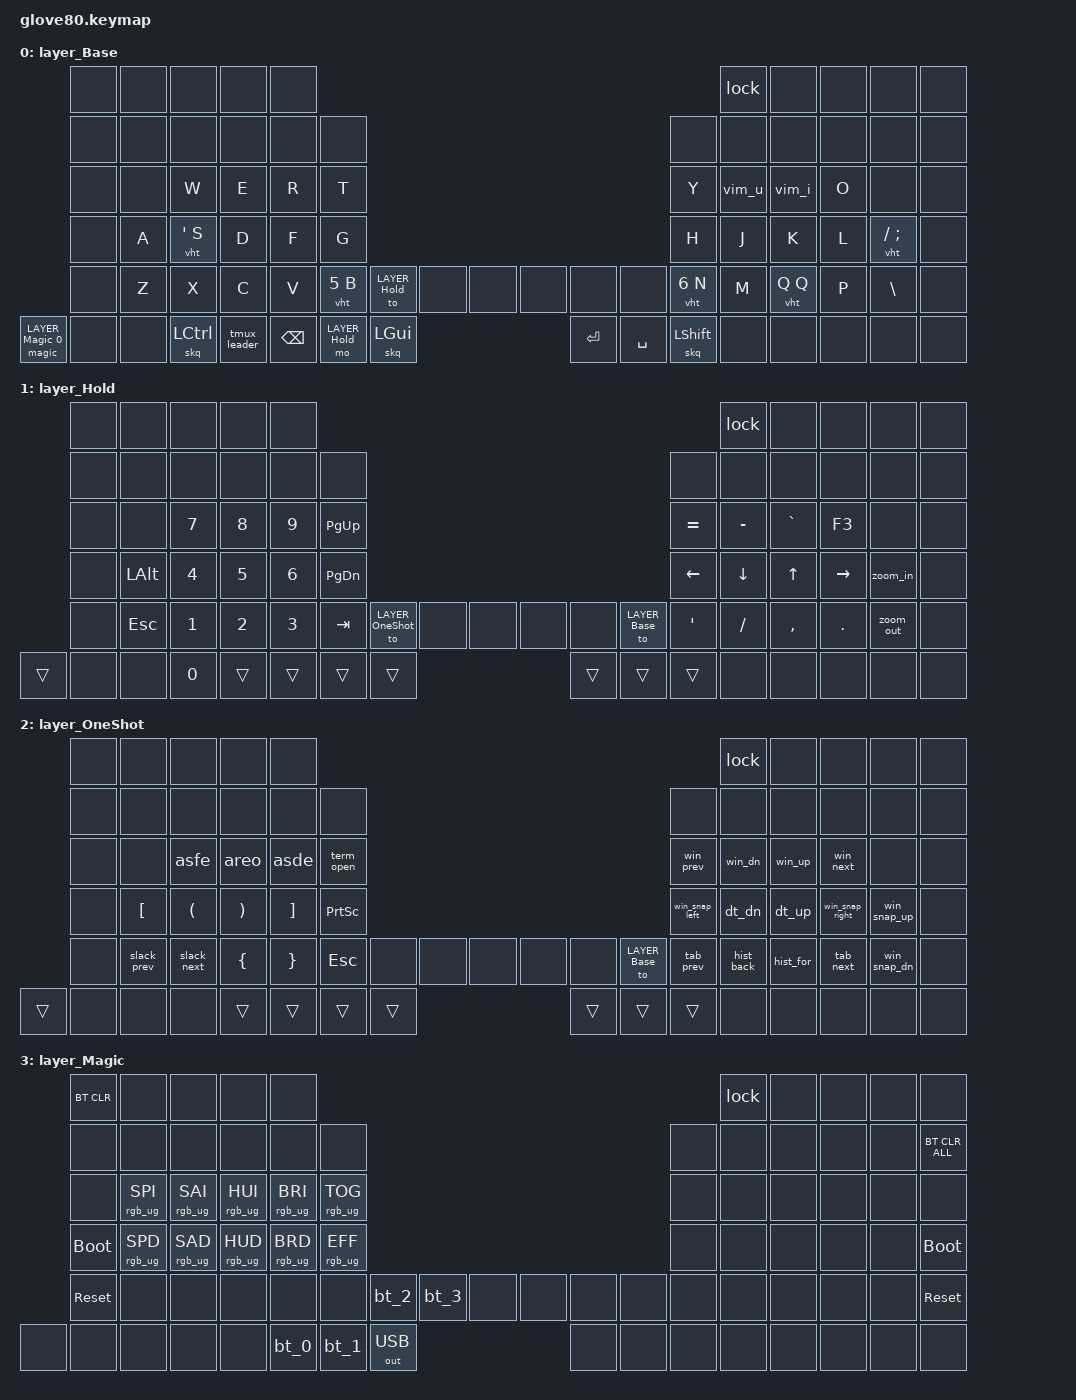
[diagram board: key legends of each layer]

/* Layer name defines. */
#define LAYER_Base 0
#define LAYER_Hold 1
#define LAYER_OneShot 2
#define LAYER_Magic 3

/* To deal with the situation where there is no Lower layer, keep &lower happy. */
#ifndef LAYER_Lower
#define LAYER_Lower 0
#endif

/* ZMK includes. */
#include <behaviors.dtsi>
#include <dt-bindings/zmk/outputs.h>
#include <dt-bindings/zmk/keys.h>
#include <dt-bindings/zmk/bt.h>
#include <dt-bindings/zmk/rgb.h>

/* Rearranged code for cleanliness. */
#include "built_in_macros.h"
#include "key_positions.h"

/* My includes. */
#include "behaviors.h"
#include "macros.h"


/ {
    keymap {
        compatible = "zmk,keymap";

        layer_Base {
            bindings = <
//                           C6  /*    */               C5               C4               C3               C2               C1                 T1                 T2            T3  /*|*/              T3           T2                 T1              C1          C2         C3               C4               C5  /*    */               C6
/* R1 */                  &none  /*    */            &none            &none            &none            &none                                                                       /*|*/                                                                       &lock      &none            &none            &none  /*    */            &none
/* R2 */                  &none  /*    */            &none            &none            &none            &none            &none                                                      /*|*/                                                           &none       &none      &none            &none            &none  /*    */            &none
                                                                                                                                                                                                                                                                                                                                         /**/
/* R3 */                  &none  /*    */       /**/ &none            &kp W            &kp E            &kp R            &kp T                                                      /*|*/                                                           &kp Y      &vim_u     &vim_i            &kp O       /**/ &none  /*    */            &none
/* R4 */                  &none  /*    */            &kp A       &vht SQT S            &kp D            &kp F            &kp G                                                      /*|*/                                                           &kp H       &kp J      &kp K            &kp L  &vht SLASH SEMI  /*    */            &none
/* R5 */                  &none  /*    */            &kp Z            &kp X            &kp C            &kp V        &vht N5 B     &to LAYER_Hold              &none         &none  /*|*/           &none        &none              &none       &vht N6 N       &kp M   &vht Q Q            &kp P         &kp BSLH  /*    */            &none
                                                                                                                                                                                                                                                                                                                                         /**/
/* R6 */   &magic LAYER_Magic 0  /*    */            &none            &none       &skq LCTRL     &tmux_leader                            &kp BSPC     &mo LAYER_Hold     &skq LGUI  /*|*/         &kp RET    &kp SPACE         &skq LSHFT                       &none      &none            &none            &none  /*    */            &none
//                               /*    */                                                                                                      T4                 T5            T6  /*|*/              T6           T5                 T4
            >;
        };

        layer_Hold {
            bindings = <
//                           C6  /*    */               C5               C4               C3               C2               C1                 T1                 T2            T3  /*|*/              T3              T2              T1              C1          C2         C3               C4               C5  /*    */               C6
/* R1 */                  &none  /*    */            &none            &none            &none            &none                                                                       /*|*/                                                                       &lock      &none            &none            &none  /*    */            &none
/* R2 */                  &none  /*    */            &none            &none            &none            &none            &none                                                      /*|*/                                                           &none       &none      &none            &none            &none  /*    */            &none
                                                                                                                                                                                                                                                                                                                                         /**/
/* R3 */                  &none  /*    */       /**/ &none           &kp N7           &kp N8           &kp N9        &kp PG_UP                                                      /*|*/                                                       &kp EQUAL   &kp MINUS  &kp GRAVE           &kp F3       /**/ &none  /*    */            &none
/* R4 */                  &none  /*    */         &kp LALT           &kp N4           &kp N5           &kp N6        &kp PG_DN                                                      /*|*/                                                        &kp LEFT    &kp DOWN     &kp UP        &kp RIGHT         &zoom_in  /*    */            &none
/* R5 */                  &none  /*    */       &kp ESCAPE           &kp N1           &kp N2           &kp N3          &kp TAB  &to LAYER_OneShot              &none         &none  /*|*/           &none           &none  &to LAYER_Base         &kp SQT   &kp SLASH  &kp COMMA          &kp DOT        &zoom_out  /*    */            &none
                                                                                                                                                                                                                                                                                                                                         /**/
/* R6 */                 &trans  /*    */            &none            &none           &kp N0           &trans                              &trans             &trans        &trans  /*|*/          &trans          &trans          &trans                       &none      &none            &none            &none  /*    */            &none
//                               /*    */                                                                                                      T4                 T5            T6  /*|*/              T6              T5              T4
             >;
        };

        layer_OneShot {
            bindings = <
//                           C6  /*    */               C5               C4               C3               C2               C1                 T1                 T2            T3  /*|*/              T3              T2              T1              C1          C2         C3               C4               C5  /*    */               C6
/* R1 */                  &none  /*    */            &none            &none            &none            &none                                                                       /*|*/                                                                       &lock      &none            &none            &none  /*    */            &none
/* R2 */                  &none  /*    */            &none            &none            &none            &none            &none                                                      /*|*/                                                           &none       &none      &none            &none            &none  /*    */            &none
                                                                                                                                                                                                                                                                                                                                         /**/
/* R3 */                  &none  /*    */       /**/ &none            &asfe            &areo            &asde       &term_open                                                      /*|*/                                                       &win_prev     &win_dn    &win_up        &win_next       /**/ &none  /*    */            &none
/* R4 */                  &none  /*    */         &kp LBKT         &kp LPAR         &kp RPAR         &kp RBKT        &kp PSCRN                                                      /*|*/                                                  &win_snap_left      &dt_dn     &dt_up  &win_snap_right     &win_snap_up  /*    */            &none
/* R5 */                  &none  /*    */      &slack_prev      &slack_next         &kp LBRC         &kp RBRC       &kp ESCAPE              &none              &none         &none  /*|*/           &none           &none  &to LAYER_Base       &tab_prev  &hist_back  &hist_for        &tab_next     &win_snap_dn  /*    */            &none
                                                                                                                                                                                                                                                                                                                                         /**/
/* R6 */                 &trans  /*    */            &none            &none            &none           &trans                              &trans             &trans        &trans  /*|*/           &trans         &trans          &trans                       &none      &none            &none            &none  /*    */            &none
//                               /*    */                                                                                                      T4                 T5            T6  /*|*/              T6              T5              T4
            >;
        };

        layer_Magic {
            bindings = <
//                           C6  /*    */               C5               C4               C3               C2               C1                  T1                 T2            T3  /*|*/              T3              T2             T1              C1          C2         C3               C4               C5  /*    */              C6
/* R1 */             &bt BT_CLR  /*    */            &none            &none            &none            &none                                                                       /*|*/                                                                       &lock      &none            &none            &none  /*    */            &none
/* R2 */                  &none  /*    */            &none            &none            &none            &none            &none                                                       /*|*/                                                          &none       &none      &none            &none            &none  /*    */  &bt BT_CLR_ALL
                                                                                                                                                                                                                                                                                                                                        /**/
/* R3 */                  &none  /*    */  &rgb_ug RGB_SPI  &rgb_ug RGB_SAI  &rgb_ug RGB_HUI  &rgb_ug RGB_BRI  &rgb_ug RGB_TOG                                                       /*|*/                                                          &none       &none      &none            &none            &none  /*    */           &none
/* R4 */            &bootloader  /*    */  &rgb_ug RGB_SPD  &rgb_ug RGB_SAD  &rgb_ug RGB_HUD  &rgb_ug RGB_BRD  &rgb_ug RGB_EFF                                                       /*|*/                                                          &none       &none      &none            &none            &none  /*    */     &bootloader
/* R5 */             &sys_reset  /*    */            &none            &none            &none            &none            &none               &bt_2              &bt_3         &none  /*|*/           &none           &none          &none           &none       &none      &none            &none            &none  /*    */      &sys_reset
                                                                                                                                                                                                                                                                                                                                        /**/
/* R6 */                  &none  /*    */            &none            &none            &none            &none                                &bt_0              &bt_1  &out OUT_USB  /*|*/           &none           &none          &none                       &none      &none            &none            &none  /*    */           &none
//                               /*    */                                                                                                       T4                 T5            T6  /*|*/              T6              T5             T4
            >;
        };
    };
};
